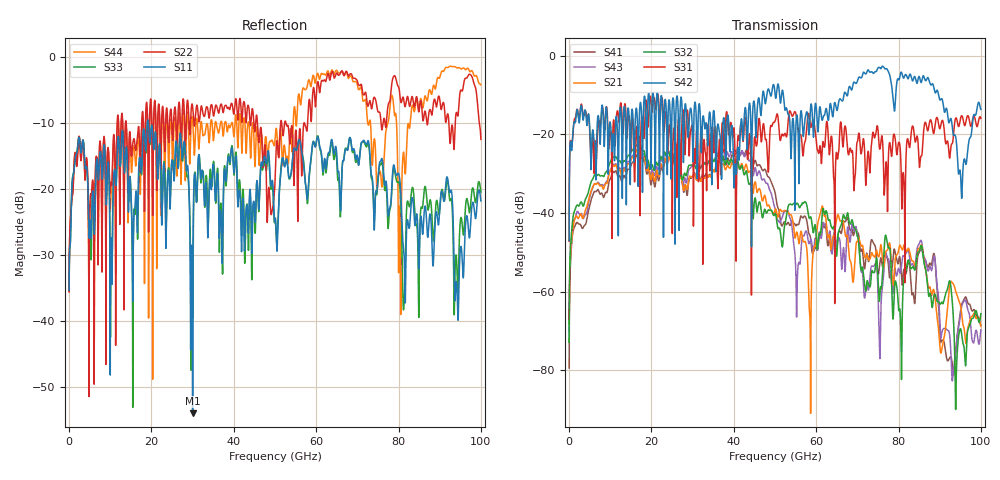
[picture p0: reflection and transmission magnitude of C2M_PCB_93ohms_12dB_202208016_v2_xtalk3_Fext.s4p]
! Info: Touchstone file created by Circ.  Input file=Intel_C2M_200G_2p5in_202208016_staggered.circ
# Hz S RI R 50
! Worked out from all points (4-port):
!   10000 points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, 10 MHz to 100 GHz, reference 50 ohm
!   strongest paths, dB at 10 MHz, 25.01 GHz, 50.01 GHz, 75.01 GHz, 100 GHz:
!     S42: -47.0, -13.7, -9.6, -3.2, -13.7
!     S31: -47.2, -31.0, -16.7, -18.8, -16.0
!     S32: -72.9, -24.9, -40.2, -56.5, -65.6
!     S21: -68.4, -26.9, -39.3, -50.9, -68.8
!     S43: -70.2, -24.9, -39.0, -60.1, -69.7
!     S41: -79.4, -26.7, -34.8, -55.8, -68.5
!   lowest |S11| = -53.9 dB at 30 GHz (marker M1), VSWR 1.00, Z = 49.8 - j0.0702 ohm
!   |S11| at or under -10 dB: start of sweep to 18.99 GHz; 19.26 GHz to end of sweep
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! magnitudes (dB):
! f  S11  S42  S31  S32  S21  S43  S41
! 10 MHz  -35.3  -47.0  -47.2  -72.9  -68.4  -70.2  -79.4
! 6.19 GHz  -26.1  -21.9  -24.6  -30.4  -32.6  -32.6  -34.5
! 30 GHz  -53.9  -22.0  -20.6  -27.8  -30.6  -28.2  -30.6
! 58.49 GHz  -16.8  -15.7  -16.9  -41.3  -66.7  -47.4  -45.7
! 61.33 GHz  -14.9  -16.0  -26.9  -42.6  -38.7  -46.0  -43.7
! 80.34 GHz  -18.7  -5.2  -22.9  -64.7  -48.2  -55.4  -51.4
! 100 GHz  -21.8  -13.7  -16.0  -65.6  -68.8  -69.7  -68.5
